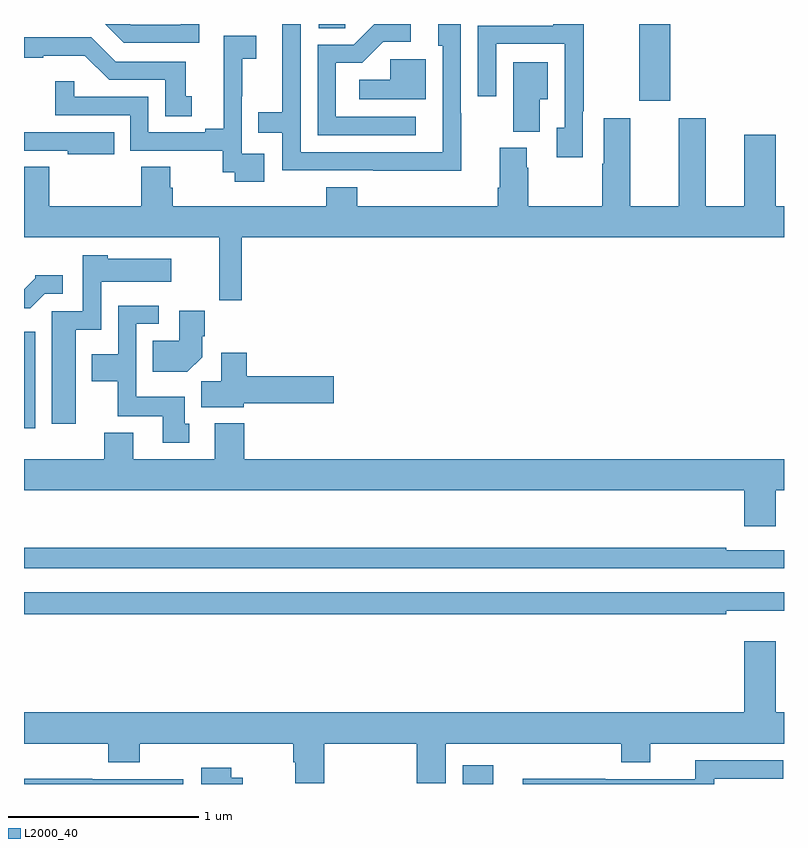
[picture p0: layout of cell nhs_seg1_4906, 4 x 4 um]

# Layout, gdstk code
import gdstk
lib = gdstk.Library(unit=1e-6, precision=1e-09)
def R(c, l, rs):  # rectangles x0, y0, x1, y1
    for r in rs: c.add(gdstk.rectangle(r[:2], r[2:], *l))
def P(c, l, *ps):  # polygons
    for p in ps: c.add(gdstk.Polygon(p, *l))
L2000_40 = (2000, 40)

nhs_seg1_4906 = lib.new_cell('nhs_seg1_4906')
R(nhs_seg1_4906, L2000_40, [(379.308,538.199,379.469,538.297), (377,540.072,377.059,540.58), (380.237,541.794,380.401,542.199), (378.551,542.176,378.69,542.199)])
P(nhs_seg1_4906, L2000_40, [(379.063,541.71),(378.642,541.71),(378.642,541.995),(378.78,541.995),(378.891,542.106),(379.036,542.106),(379.036,542.199),(378.843,542.199),(378.735,542.091),(378.546,542.091),(378.546,541.614),(379.063,541.614)],
  [(379.301,541.73),(379.299,541.73),(379.299,542.199),(379.181,542.199),(379.181,542.085),(379.203,542.085),(379.203,541.524),(378.456,541.524),(378.456,542.199),(378.359,542.199),(378.359,541.735),(378.232,541.735),(378.232,541.626),(378.36,541.626),(378.36,541.428),(378.838,541.428),(378.838,541.427),(379.301,541.427)],
  [(377.922,542.199),(377.826,542.199),(377.826,542.196),(377.562,542.196),(377.559,542.199),(377.427,542.199),(377.526,542.1),(377.922,542.1)],
  [(379.941,541.741),(379.946,541.741),(379.946,542.197),(379.785,542.197),(379.785,542.19),(379.389,542.19),(379.389,541.818),(379.485,541.818),(379.485,542.094),(379.845,542.094),(379.845,541.653),(379.805,541.653),(379.805,541.497),(379.941,541.497)],
  [(378.265,541.515),(378.147,541.515),(378.147,541.819),(378.149,541.819),(378.149,542.017),(378.223,542.017),(378.223,542.138),(378.052,542.138),(378.052,542.027),(378.05,542.027),(378.05,541.649),(377.954,541.649),(377.954,541.629),(377.655,541.629),(377.655,541.815),(377.265,541.815),(377.265,541.897),(377.164,541.897),(377.164,541.719),(377.559,541.719),(377.559,541.533),(378.046,541.533),(378.046,541.419),(378.109,541.419),(378.109,541.368),(378.265,541.368)],
  [(377.884,541.818),(377.851,541.818),(377.851,542.001),(377.484,542.001),(377.355,542.13),(377,542.13),(377,542.022),(377.102,542.022),(377.102,542.033),(377.32,542.033),(377.448,541.905),(377.744,541.905),(377.744,541.714),(377.884,541.714)],
  [(379.114,542.013),(378.927,542.013),(378.927,541.906),(378.765,541.906),(378.765,541.802),(379.114,541.802)],
  [(379.714,541.802),(379.756,541.802),(379.756,541.999),(379.574,541.999),(379.574,541.633),(379.714,541.633)],
  [(378.146,541.076),(381,541.076),(381,541.24),(380.956,541.24),(380.956,541.615),(380.792,541.615),(380.792,541.24),(380.587,541.24),(380.587,541.702),(380.447,541.702),(380.447,541.24),(380.191,541.24),(380.191,541.702),(380.051,541.702),(380.051,541.463),(380.044,541.463),(380.044,541.24),(379.653,541.24),(379.653,541.442),(379.645,541.442),(379.645,541.548),(379.505,541.548),(379.505,541.336),(379.493,541.336),(379.493,541.24),(378.755,541.24),(378.755,541.339),(378.59,541.339),(378.59,541.24),(377.783,541.24),(377.783,541.338),(377.77,541.338),(377.77,541.448),(377.618,541.448),(377.618,541.24),(377.132,541.24),(377.132,541.448),(377,541.448),(377,541.076),(378.028,541.076),(378.028,540.744),(378.146,540.744)],
  [(377.474,541.629),(377,541.629),(377,541.533),(377.231,541.533),(377.231,541.514),(377.474,541.514)],
  [(377.272,540.59),(377.406,540.59),(377.406,540.842),(377.776,540.842),(377.776,540.964),(377.442,540.964),(377.442,540.982),(377.31,540.982),(377.31,540.687),(377.147,540.687),(377.147,540.096),(377.272,540.096)],
  [(377.109,540.78),(377.203,540.78),(377.203,540.877),(377.058,540.877),(377.058,540.862),(377,540.804),(377,540.704),(377.033,540.704)],
  [(377.869,540.096),(377.845,540.096),(377.845,540.238),(377.592,540.238),(377.592,540.621),(377.71,540.621),(377.71,540.717),(377.496,540.717),(377.496,540.46),(377.357,540.46),(377.357,540.32),(377.494,540.32),(377.494,540.134),(377.729,540.134),(377.729,539.994),(377.869,539.994)],
  [(377.938,540.446),(377.938,540.556),(377.951,540.556),(377.951,540.691),(377.816,540.691),(377.816,540.532),(377.677,540.532),(377.677,540.368),(377.86,540.368)],
  [(378.156,540.202),(378.631,540.202),(378.631,540.344),(378.173,540.344),(378.173,540.469),(378.038,540.469),(378.038,540.32),(377.933,540.32),(377.933,540.182),(378.156,540.182)],
  [(380.956,539.744),(381,539.744),(381,539.908),(378.158,539.908),(378.158,540.097),(378.005,540.097),(378.005,539.908),(377.575,539.908),(377.575,540.049),(377.423,540.049),(377.423,539.908),(377,539.908),(377,539.744),(380.792,539.744),(380.792,539.556),(380.956,539.556)],
  [(381,539.43),(380.696,539.43),(380.696,539.443),(377,539.443),(377,539.334),(381,539.334)],
  [(380.696,539.111),(381,539.111),(381,539.208),(377,539.208),(377,539.092),(380.696,539.092)],
  [(378.581,538.412),(379.067,538.412),(379.067,538.204),(379.219,538.204),(379.219,538.412),(380.144,538.412),(380.144,538.313),(380.296,538.313),(380.296,538.412),(381,538.412),(381,538.576),(380.956,538.576),(380.956,538.951),(380.792,538.951),(380.792,538.576),(377,538.576),(377,538.412),(377.444,538.412),(377.444,538.313),(377.609,538.313),(377.609,538.412),(378.416,538.412),(378.416,538.314),(378.428,538.314),(378.428,538.204),(378.581,538.204)],
  [(380.632,538.227),(380.996,538.227),(380.996,538.323),(380.533,538.323),(380.533,538.224),(380.06,538.224),(380.06,538.226),(379.626,538.226),(379.626,538.199),(380.632,538.199)],
  [(378.152,538.233),(378.09,538.233),(378.09,538.285),(377.934,538.285),(377.934,538.199),(378.152,538.199)],
  [(377.838,538.224),(377.36,538.224),(377.36,538.226),(377,538.226),(377,538.199),(377.838,538.199)])

lib.write_gds('nhs_seg1_4906.gds')
